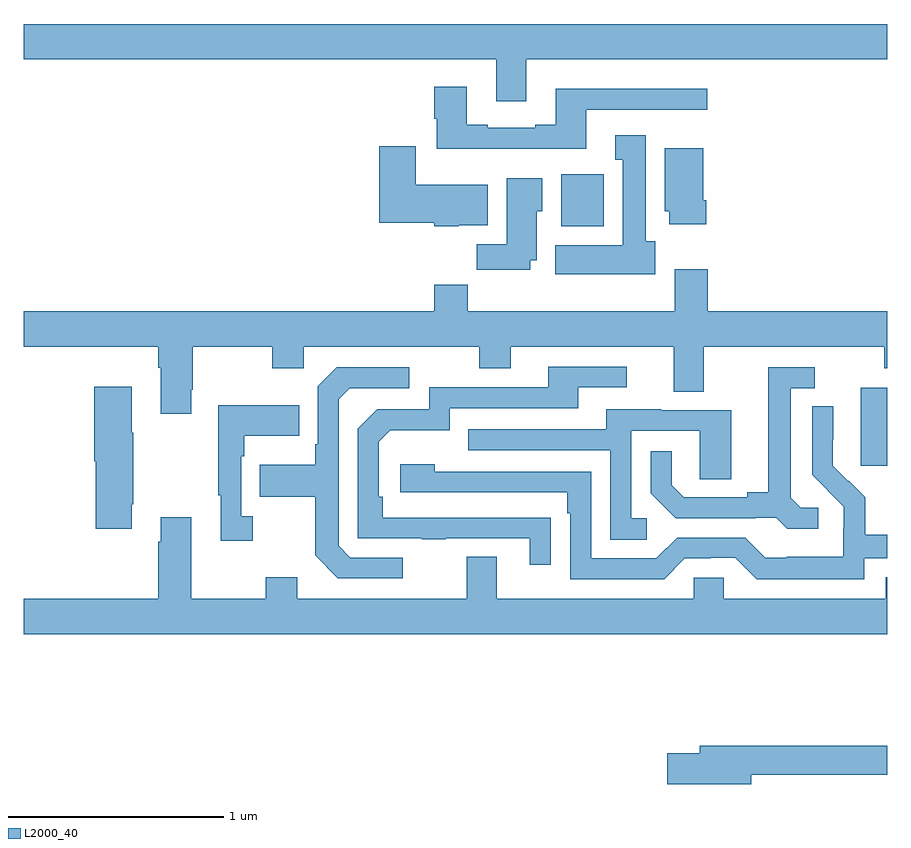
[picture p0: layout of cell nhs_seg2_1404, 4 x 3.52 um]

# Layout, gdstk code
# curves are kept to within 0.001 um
import gdstk
lib = gdstk.Library(unit=1e-6, precision=1e-09)
def R(c, l, rs):  # rectangles x0, y0, x1, y1
    for r in rs: c.add(gdstk.rectangle(r[:2], r[2:], *l))
def P(c, l, *ps):  # polygons
    for p in ps: c.add(gdstk.Polygon(p, *l))
L2000_40 = (2000, 40)

nhs_seg2_1404 = lib.new_cell('nhs_seg2_1404')
R(nhs_seg2_1404, L2000_40, [(186.878,661.737,187,662.098), (185.489,662.846,185.686,663.088)])
P(nhs_seg2_1404, L2000_40, [(185.329,663.62),(187,663.62),(187,663.784),(183,663.784),(183,663.62),(185.189,663.62),(185.189,663.426),(185.329,663.426)],
  [(185.605,663.387),(186.166,663.387),(186.166,663.484),(185.465,663.484),(185.465,663.316),(185.369,663.316),(185.369,663.303),(185.149,663.303),(185.149,663.316),(185.053,663.316),(185.053,663.493),(184.901,663.493),(184.901,663.345),(184.913,663.345),(184.913,663.206),(185.605,663.206)],
  [(185.926,662.778),(185.881,662.778),(185.881,663.268),(185.741,663.268),(185.741,663.155),(185.774,663.155),(185.774,662.758),(185.462,662.758),(185.462,662.624),(185.926,662.624)],
  [(185.016,662.852),(185.149,662.852),(185.149,663.04),(184.816,663.04),(184.816,663.217),(184.646,663.217),(184.646,662.864),(184.902,662.864),(184.902,662.846),(185.016,662.846)],
  [(186.161,662.968),(186.148,662.968),(186.148,663.208),(185.969,663.208),(185.969,662.916),(185.99,662.916),(185.99,662.856),(186.161,662.856)],
  [(185.347,662.69),(185.377,662.69),(185.377,662.916),(185.401,662.916),(185.401,663.07),(185.237,663.07),(185.237,662.764),(185.098,662.764),(185.098,662.646),(185.347,662.646)],
  [(183.775,662.089),(183.783,662.089),(183.783,662.288),(184.15,662.288),(184.15,662.189),(184.296,662.189),(184.296,662.288),(185.11,662.288),(185.11,662.189),(185.257,662.189),(185.257,662.288),(186.011,662.288),(186.011,662.08),(186.151,662.08),(186.151,662.288),(186.988,662.288),(186.988,662.189),(187,662.189),(187,662.452),(186.17,662.452),(186.17,662.647),(186.017,662.647),(186.017,662.452),(185.057,662.452),(185.057,662.576),(184.901,662.576),(184.901,662.452),(183,662.452),(183,662.288),(183.623,662.288),(183.623,662.192),(183.635,662.192),(183.635,661.977),(183.775,661.977)],
  [(185.441,661.496),(184.664,661.497),(184.664,661.594),(184.644,661.594),(184.644,661.848),(184.697,661.901),(184.974,661.901),(184.974,662.004),(185.569,662.004),(185.569,662.1),(185.794,662.1),(185.794,662.196),(185.429,662.196),(185.429,662.1),(184.878,662.1),(184.878,661.998),(184.638,661.998),(184.548,661.908),(184.548,661.401),(184.843,661.401),(184.843,661.396),(184.955,661.396),(184.955,661.401),(185.345,661.401),(185.345,661.278),(185.441,661.278)],
  [(186.682,661.542),(186.6,661.542),(186.553,661.589),(186.553,662.097),(186.664,662.097),(186.664,662.193),(186.449,662.193),(186.449,661.613),(186.353,661.613),(186.353,661.59),(186.058,661.59),(186.001,661.647),(186.001,661.804),(185.904,661.804),(185.904,661.61),(186.02,661.494),(186.392,661.494),(186.392,661.497),(186.486,661.497),(186.538,661.445),(186.682,661.445)],
  [(184.756,661.311),(184.512,661.311),(184.458,661.365),(184.458,662.046),(184.509,662.097),(184.786,662.097),(184.786,662.193),(184.449,662.193),(184.362,662.106),(184.362,661.837),(184.35,661.837),(184.35,661.741),(184.093,661.741),(184.093,661.594),(184.35,661.594),(184.35,661.321),(184.455,661.215),(184.756,661.215)],
  [(183.499,661.558),(183.507,661.558),(183.507,661.889),(183.499,661.889),(183.499,662.104),(183.326,662.104),(183.326,661.758),(183.332,661.758),(183.332,661.446),(183.499,661.446)],
  [(184.06,661.502),(184.008,661.502),(184.008,661.781),(184.021,661.781),(184.021,661.877),(184.277,661.877),(184.277,662.017),(183.9,662.017),(183.9,661.601),(183.911,661.601),(183.911,661.389),(184.06,661.389)],
  [(186.894,661.308),(187,661.308),(187,661.417),(186.899,661.417),(186.899,661.591),(186.822,661.668),(186.819,661.665),(186.749,661.736),(186.75,662.012),(186.654,662.012),(186.654,661.694),(186.8,661.546),(186.8,661.449),(186.798,661.449),(186.798,661.315),(186.535,661.315),(186.535,661.311),(186.435,661.311),(186.342,661.404),(186.027,661.404),(185.931,661.308),(185.628,661.308),(185.628,661.71),(184.904,661.71),(184.904,661.744),(184.743,661.744),(184.743,661.614),(185.519,661.614),(185.519,661.517),(185.532,661.517),(185.532,661.212),(185.967,661.212),(186.063,661.308),(186.182,661.308),(186.182,661.311),(186.297,661.311),(186.397,661.211),(186.894,661.211)],
  [(185.887,661.494),(185.814,661.494),(185.814,661.899),(186.132,661.899),(186.132,661.675),(186.277,661.675),(186.277,661.995),(185.953,661.995),(185.953,661.999),(185.699,661.999),(185.699,661.905),(185.059,661.905),(185.059,661.809),(185.718,661.809),(185.718,661.393),(185.887,661.393)],
  [(187,661.219),(186.995,661.219),(186.995,661.12),(186.243,661.12),(186.243,661.218),(186.105,661.218),(186.105,661.12),(185.191,661.12),(185.191,661.315),(185.051,661.315),(185.051,661.12),(184.267,661.12),(184.267,661.219),(184.12,661.219),(184.12,661.12),(183.775,661.12),(183.775,661.498),(183.635,661.498),(183.635,661.385),(183.623,661.385),(183.623,661.12),(183,661.12),(183,660.956),(187,660.956)],
  [(186.37,660.304),(187,660.304),(187,660.44),(186.131,660.44),(186.131,660.404),(185.982,660.404),(185.982,660.262),(186.37,660.262)])

lib.write_gds('nhs_seg2_1404.gds')
